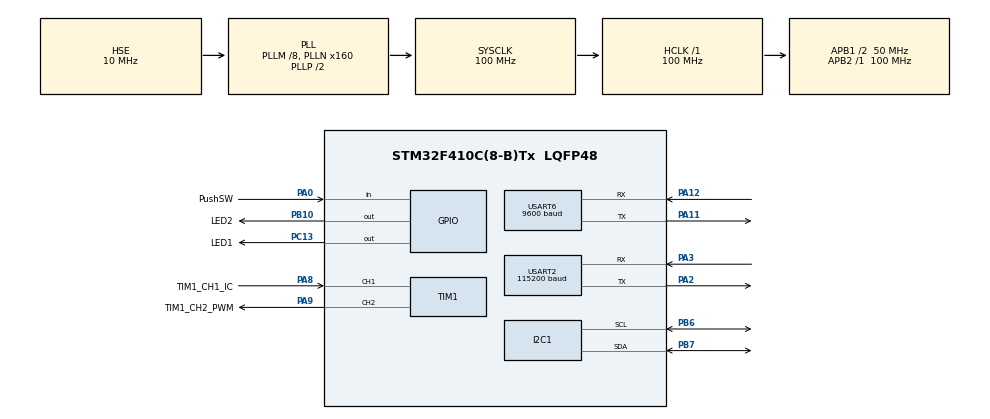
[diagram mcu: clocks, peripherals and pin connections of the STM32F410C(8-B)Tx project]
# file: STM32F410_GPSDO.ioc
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Dma.Request0=USART6_RX
Dma.Request1=USART6_TX
Dma.USART6_RX.0.Direction=DMA_PERIPH_TO_MEMORY
Dma.USART6_RX.0.FIFOMode=DMA_FIFOMODE_DISABLE
Dma.USART6_RX.0.Instance=DMA2_Stream1
Dma.USART6_RX.0.MemDataAlignment=DMA_MDATAALIGN_BYTE
Dma.USART6_RX.0.MemInc=DMA_MINC_ENABLE
Dma.USART6_RX.0.Mode=DMA_NORMAL
Dma.USART6_RX.0.PeriphDataAlignment=DMA_PDATAALIGN_BYTE
Dma.USART6_RX.0.PeriphInc=DMA_PINC_DISABLE
Dma.USART6_RX.0.Priority=DMA_PRIORITY_LOW
Dma.USART6_TX.1.Direction=DMA_MEMORY_TO_PERIPH
Dma.USART6_TX.1.FIFOMode=DMA_FIFOMODE_DISABLE
Dma.USART6_TX.1.Instance=DMA2_Stream6
Dma.USART6_TX.1.MemDataAlignment=DMA_MDATAALIGN_BYTE
Dma.USART6_TX.1.MemInc=DMA_MINC_ENABLE
Dma.USART6_TX.1.Mode=DMA_NORMAL
Dma.USART6_TX.1.PeriphDataAlignment=DMA_PDATAALIGN_BYTE
Dma.USART6_TX.1.PeriphInc=DMA_PINC_DISABLE
Dma.USART6_TX.1.Priority=DMA_PRIORITY_LOW
Mcu.Family=STM32F4
Mcu.Name=STM32F410C(8-B)Tx
Mcu.Package=LQFP48
NVIC.DMA2_Stream1_IRQn=true\:0\:0\:false\:false\:true\:false\:true\:true
NVIC.DMA2_Stream6_IRQn=true\:0\:0\:false\:false\:true\:false\:true\:true
NVIC.PriorityGroup=NVIC_PRIORITYGROUP_4
NVIC.TIM1_CC_IRQn=true\:3\:0\:true\:false\:true\:true\:true\:true
NVIC.TIM1_TRG_COM_TIM11_IRQn=true\:7\:0\:true\:false\:true\:true\:true\:true
NVIC.TIM1_UP_IRQn=true\:1\:0\:true\:false\:true\:true\:true\:true
NVIC.USART6_IRQn=true\:5\:0\:true\:false\:true\:true\:true\:true
PA0-WKUP.GPIO_Label=PushSW
PA0-WKUP.GPIO_PuPd=GPIO_PULLUP
PA0-WKUP.Signal=GPIO_Input
PA11.Mode=Asynchronous
PA11.Signal=USART6_TX
PA12.Mode=Asynchronous
PA12.Signal=USART6_RX
PA2.Mode=Asynchronous
PA2.Signal=USART2_TX
PA3.Mode=Asynchronous
PA3.Signal=USART2_RX
PA8.GPIO_Label=TIM1_CH1_IC
PA8.Signal=S_TIM1_CH1
PA9.GPIO_Label=TIM1_CH2_PWM
PA9.GPIO_ModeDefaultPP=GPIO_MODE_AF_OD
PA9.Signal=S_TIM1_CH2
PB10.GPIO_Label=LED2
PB10.Signal=GPIO_Output
PB6.Mode=I2C
PB6.Signal=I2C1_SCL
PB7.Mode=I2C
PB7.Signal=I2C1_SDA
PC13-ANTI_TAMP.GPIO_Label=LED1
PC13-ANTI_TAMP.Signal=GPIO_Output
PH0\ -\ OSC_IN.Mode=HSE-External-Clock-Source
PH0\ -\ OSC_IN.Signal=RCC_OSC_IN
PH1\ -\ OSC_OUT.Mode=HSE-External-Clock-Source
PH1\ -\ OSC_OUT.Signal=RCC_OSC_OUT
ProjectManager.HeapSize=0x200
ProjectManager.StackSize=0x400
ProjectManager.TargetToolchain=STM32CubeIDE
RCC.48MHZClocksFreq_Value=50000000
RCC.AHBFreq_Value=100000000
RCC.APB1CLKDivider=RCC_HCLK_DIV2
RCC.APB1Freq_Value=50000000
RCC.APB1TimFreq_Value=100000000
RCC.APB2Freq_Value=100000000
RCC.APB2TimFreq_Value=100000000
RCC.CortexFreq_Value=100000000
RCC.HCLKFreq_Value=100000000
RCC.HSE_VALUE=10000000
RCC.HSI_VALUE=16000000
RCC.LSE_VALUE=32768
RCC.PLLM=8
RCC.PLLN=160
RCC.PLLSourceVirtual=RCC_PLLSOURCE_HSE
RCC.SYSCLKFreq_VALUE=100000000
RCC.SYSCLKSource=RCC_SYSCLKSOURCE_PLLCLK
RCC.VCOOutputFreq_Value=200000000
SH.S_TIM1_CH1.0=TIM1_CH1,Input_Capture1_from_TI1
SH.S_TIM1_CH2.0=TIM1_CH2,PWM Generation2 CH2
TIM1.Channel-Input_Capture1_from_TI1=TIM_CHANNEL_1
TIM1.Channel-PWM\ Generation2\ CH2=TIM_CHANNEL_2
TIM1.Pulse-PWM\ Generation2\ CH2=0x8000
TIM11.Period=9999
TIM11.Prescaler=99
USART2.BaudRate=115200
USART2.VirtualMode=VM_ASYNC
USART6.BaudRate=9600
USART6.VirtualMode=VM_ASYNC
VP_TIM11_VS_ClockSourceINT.Mode=Enable_Timer
VP_TIM1_VS_ClockSourceINT.Mode=Internal
board=custom

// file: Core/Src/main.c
/* USER CODE BEGIN Header */
/**
  ******************************************************************************
  * @file           : main.c
  * @brief          : Main program body
  ******************************************************************************
  * @attention
  *
  * Copyright (c) 2023 STMicroelectronics.
  * All rights reserved.
  *
  * This software is licensed under terms that can be found in the LICENSE file
  * in the root directory of this software component.
  * If no LICENSE file comes with this software, it is provided AS-IS.
  *
  ******************************************************************************
  */
/* USER CODE END Header */
#include "main.h"

/* USER CODE BEGIN Includes */
#include <stdbool.h>
#include <stdio.h>
#include <stdlib.h>
#include <string.h>
#include "ssd1306.h"
#include "fonts.h"
#include "ocxo.h"
#include "gps.h"
#include "display.h"

/* USER CODE END Includes */

/* USER CODE BEGIN PTD */
// STM32F410CBT6:Flash 128KB -> last sector 4 (64KB area)
#define FLASH_DATA_SECTOR		FLASH_SECTOR_4
#define FLASH_DATA_ADR			0x08010000
#define FLASH_DATA_SECTORSIZE	0x10000

#define LM73_I2C_ADDR       	0x98
#define OCXO_DEF_THRESHOLD		30		// degree C
#define SW_PRESSED				0
#define SW_SHORT_THRESHOLD  	3		// (Unit:10ms) 30msec
#define SW_LONG_THRESHOLD   	300		// (Unit:10ms) 3000msec

#define STATE_INIT_NOT_RESTORED	0
#define STATE_INIT_RESTORED		1
#define STATE_WAIT_WARMUP		2
#define STATE_WAIT_TIMEVALID	3
#define STATE_WAIT_GPSVALID		4
#define STATE_GPSVALID			5

/* USER CODE END PTD */

I2C_HandleTypeDef hi2c1;

TIM_HandleTypeDef htim1;
TIM_HandleTypeDef htim11;

UART_HandleTypeDef huart2;
UART_HandleTypeDef huart6;
DMA_HandleTypeDef hdma_usart6_rx;
DMA_HandleTypeDef hdma_usart6_tx;

/* USER CODE BEGIN PV */
int32_t	tim1_ovf_cnt = 0;
int32_t	cnt_1pps;
bool	previous_cnt_valid = false;
bool	update_cnt_1pps = false;
int32_t	tim11_ovf_cnt = 0;
int32_t	KeyStatus = 0;

/* USER CODE END PV */

void SystemClock_Config(void);
static void MX_GPIO_Init(void);
static void MX_DMA_Init(void);
static void MX_I2C1_Init(void);
static void MX_TIM1_Init(void);
static void MX_USART6_UART_Init(void);
static void MX_TIM11_Init(void);
static void MX_USART2_UART_Init(void);

/* USER CODE BEGIN 0 */
// LM73(I2C) Read out TCXO temperature (signed 10 bit)
int32_t LM73_temperature(void){
  uint8_t buf[2];
  HAL_I2C_Master_Receive(&hi2c1, LM73_I2C_ADDR, buf, 2, 10);
  return ((buf[0] << 1) | (buf[1] >> 7));
}

int32_t LoadData32Flash(uint32_t *data1, uint32_t *data2) {
  uint32_t* adr = (uint32_t *)(FLASH_DATA_ADR + FLASH_DATA_SECTORSIZE) - 2;
  for( int i=0; i < FLASH_DATA_SECTORSIZE/4/2; i++ ) {	// search from end of sector
    if ( *adr != 0xFFFFFFFF) {							// if not blank (data exist)
      *data1 = *adr++;
      *data2 = *adr;
      return 0;
    }
    adr -= 2;
  }
  return -1;
}

void SaveData32Flash(uint32_t data1, uint32_t data2) {
  HAL_FLASH_Unlock();

  uint32_t* adr = (uint32_t *)(FLASH_DATA_ADR + FLASH_DATA_SECTORSIZE) - 1;
  if (*adr != 0xFFFFFFFF ) {		// if not spire
    FLASH_EraseInitTypeDef erase;
    erase.TypeErase = FLASH_TYPEERASE_SECTORS;
    erase.Sector = FLASH_DATA_SECTOR;	// STM32F410CBT6 FLASH_SECTOR_4
    erase.NbSectors = 1;
    erase.VoltageRange = FLASH_VOLTAGE_RANGE_3;
    uint32_t r; 					// SectorError
    HAL_FLASHEx_Erase(&erase, &r);
  }

  adr = (uint32_t *)FLASH_DATA_ADR;
  for (int i=0; i < FLASH_DATA_SECTORSIZE/4/2; i++) { // search from top of sector
    if (*adr == 0xFFFFFFFF) {                  // if blank
      HAL_FLASH_Program(FLASH_TYPEPROGRAM_WORD, (uint32_t)adr++, data1);
      HAL_FLASH_Program(FLASH_TYPEPROGRAM_WORD, (uint32_t)adr, data2);
      break;
    }
    adr += 2;
  }
  HAL_FLASH_Lock();
}

bool IsPushSWPressed(void) {
  return (HAL_GPIO_ReadPin(PushSW_GPIO_Port, PushSW_Pin) == SW_PRESSED);
}

int32_t CheckPushSW(void) {
  static int32_t cnt = 0;
  static bool	 detect_push_long = false;

  if (IsPushSWPressed()) {
    if (cnt > SW_LONG_THRESHOLD -1 ) {
   	  if (detect_push_long) {
   		return 0;
   	  } else {
     	detect_push_long = true;
     	return 2;
   	  }
    } else {
      cnt++;
      return 0;
    }
  } else {
	if ((detect_push_long == false) && (cnt > SW_SHORT_THRESHOLD - 1)) {
      cnt = 0;
      return 1;
	} else {
	  detect_push_long = false;
	  cnt = 0;
	  return 0;
	}
  }
}

/* USER CODE END 0 */

int main(void)
{
  /* USER CODE BEGIN 1 */
  bool ocxo_warm_up = false;
  bool gps_valid = false;
  bool gps_time_valid = false;
  bool req_update_state = false;
  bool req_update_display = false;
//bool req_display_location = false;
  bool req_display_msg_save = false;
  int32_t state;
  int32_t next_state;
  int32_t state_delay = 0;
  int32_t disp_mode = 0;
  int32_t disp_hold_cnt = 0;
  int32_t icon_sig_pat;
  int32_t temperature;
  int32_t saved_temperature;
  int32_t ocxo_threshold = OCXO_DEF_THRESHOLD;
  int32_t r;
  uint32_t k1, k2;

  /* USER CODE END 1 */

  /* MCU Configuration--------------------------------------------------------*/

  /* Reset of all peripherals, Initializes the Flash interface and the Systick. */
  HAL_Init();

  /* Configure the system clock */
  SystemClock_Config();

  /* Initialize all configured peripherals */
  MX_GPIO_Init();
  MX_DMA_Init();
  MX_I2C1_Init();
  MX_TIM1_Init();
  MX_USART6_UART_Init();
  MX_TIM11_Init();
  MX_USART2_UART_Init();
  /* USER CODE BEGIN 2 */
  uart6_init();

  if (ssd1306_Init(&hi2c1) != 0) {
    Error_Handler();
  }
  HAL_Delay(1000);

  // load saved parameter
  if (!IsPushSWPressed()) {
	r = LoadData32Flash(&k1, &k2);
	if (r == -1) {
	  state = next_state = STATE_INIT_NOT_RESTORED;
	} else {
	  set_control_pwm_data((int32_t) k1);
	  ocxo_threshold = k2;
      state = next_state = STATE_INIT_RESTORED;
    }
  } else {
	state = next_state = STATE_INIT_NOT_RESTORED;
  }

  // Start Timer
  HAL_TIM_Base_Start_IT(&htim11);	// Timer11
  ocxo_init();						// Timer1

  /* USER CODE END 2 */

  /* Infinite loop */
  while (1)
  {

    /* USER CODE BEGIN 3 */
//	HAL_GPIO_WritePin(LED1_GPIO_Port, LED1_Pin, GPIO_PIN_SET);// for debug

    // OCXO frequency control
	//   the interval depends on 1PPS generated by GPS module
	if (state > STATE_WAIT_WARMUP) {
	  ocxo_control();
	}

    // PushSW operation
 	r = KeyStatus;			// read and clear KeyStatus
  	KeyStatus = 0;
	if (state == STATE_GPSVALID) {
  	  if (r == 1) {			// short pressed?
  		disp_mode++;
  		if (disp_mode > 2) disp_mode = 0;
  	  }
  	  else if (r == 2) {	// long pressed?
  	    r = get_control_pwm_data();
  	    saved_temperature = temperature - 5;
  	    SaveData32Flash((uint32_t) r, (uint32_t) saved_temperature);
  	    req_display_msg_save = true;
	  }
	}

	// Receive GPS message ( measured time max. 150us)
//	HAL_GPIO_WritePin(LED2_GPIO_Port, LED2_Pin, GPIO_PIN_SET);
	uart6_err_ckcl();
	while (get_gps_msg() == true) {
	  // Output NMEA sentence using UART2 (USB serial) for debugging
//    HAL_UART_Transmit(&huart2, (const uint8_t *)gps_msg, strlen((const char *)gps_msg), 10);
	  r = msg_parse(gps_msg);
	  if (r > 0) {  // if received GPRMC message
	    gps_valid = (r & 4)? true : false;
		gps_time_valid = (r & 2)? true : false;
		tim11_ovf_cnt = 0;
		req_update_state = true;
	  }
	}
//	HAL_GPIO_WritePin(LED2_GPIO_Port, LED2_Pin, GPIO_PIN_RESET);

	// if GPRMC sentence is not detected, update state/display every 1.2sec
	if (tim11_ovf_cnt > 120) {
		tim11_ovf_cnt = 0;
		req_update_state = true;
	}

    // update state basically every 1sec
	if (req_update_state) {
	  req_update_state = false;

	  // Measure OCXO temperature
	  temperature = LM73_temperature();
	  if (temperature > ocxo_threshold)
	    ocxo_warm_up = true;

	  // state machine
	  if (state_delay == 0) {
		state = next_state;
		req_update_display = true;
		switch(state) {
		  case STATE_INIT_NOT_RESTORED:
		  case STATE_INIT_RESTORED:
		    next_state = STATE_WAIT_WARMUP;
		    state_delay = 3; // 3sec
		    break;

		  case STATE_WAIT_WARMUP:
		    if (ocxo_warm_up) next_state = STATE_WAIT_TIMEVALID;
		    break;

		  case STATE_WAIT_TIMEVALID:
		    if (gps_time_valid) next_state = STATE_WAIT_GPSVALID;
		    break;

		  case STATE_WAIT_GPSVALID:
		    if (gps_valid) next_state = STATE_GPSVALID;
		    else if (!gps_time_valid) next_state = STATE_WAIT_TIMEVALID;
		    break;

		  case STATE_GPSVALID:
		    if (!gps_valid) next_state = STATE_WAIT_GPSVALID;
		    else if (!gps_time_valid) next_state = STATE_WAIT_TIMEVALID;
		    break;

		  default:
		    next_state = STATE_WAIT_WARMUP;
		    break;
		}

	  } else {
		state_delay--;
	  }
	} // if(req_update_state)

	// display control
    if (disp_hold_cnt) {
      disp_hold_cnt--;
    }
    else if (req_update_display) {
      req_update_display = false;
	  switch(state) {
		case STATE_INIT_NOT_RESTORED:
	      ssd1306_Fill(Black);
	      display_msg_not_load();
	      disp_hold_cnt = 3;
		  break;

		case STATE_INIT_RESTORED:
		  ssd1306_Fill(Black);
		  display_msg_restore(get_control_pwm_data(), ocxo_threshold);
		  disp_hold_cnt = 3;
		  break;

		case STATE_WAIT_WARMUP:
		  ssd1306_Fill(Black);
		  display_heater_icon(IPOS_Center_X, IPOS_Center_Y);
		  display_msg_warming_up();
		  display_temperature(temperature);
		  break;

		case STATE_WAIT_TIMEVALID:
		  ssd1306_Fill(Black);
		  display_satellite_icon(IPOS_Center_X, IPOS_Center_Y);
		  display_msg_waiting_gps();
		  display_temperature(temperature);
		  break;

		case STATE_WAIT_GPSVALID:
		  ssd1306_Fill(Black);
		  display_satellite_icon(IPOS_Corner_X, IPOS_Corner_Y);
		  display_temperature(temperature);
		  display_time();
		  display_SatellitesInView();
		  icon_sig_pat = 0;
		  break;

		case STATE_GPSVALID:
		  display_sat_icon_sig(IPOS_Corner_X, IPOS_Corner_Y, icon_sig_pat++);
		  if (icon_sig_pat > 2) icon_sig_pat = 0;
		  display_SatellitesUsed();
		  display_SatellitesInView();
		  display_freq_error();
		  display_blank_row(TPOS_Y3, Font_7x10);
		  display_blank_row(TPOS_Y4, Font_7x10);
		  if (req_display_msg_save) {
			  req_display_msg_save = false;
			  display_msg_save(get_control_pwm_data(), saved_temperature);
			  disp_hold_cnt = 5;
		  } else {
			switch(disp_mode) {
			  case 0:
		        display_control_period();
			    display_temperature(temperature);
		        display_time();
			    display_pwm_data();
			    break;
			  case 1:
		        display_control_period();
			    display_temperature(temperature);
			    display_summing_error();
			    display_pwm_data();
			    break;
			  case 2:
                display_Latitude();
                display_Longitude();
                break;
			  default:
				break;
			} // switch(disp_mode)
		  } // else
		  break;

		default:
		  break;
	  } // switch
	  ssd1306_UpdateScreen(&hi2c1);	// execution time: 100ms
	} // if (req_update_display)

//  HAL_GPIO_WritePin(LED1_GPIO_Port, LED1_Pin, GPIO_PIN_RESET);
  } // while
  /* USER CODE END 3 */
}

void SystemClock_Config(void)
{
  RCC_OscInitTypeDef RCC_OscInitStruct = {0};
  RCC_ClkInitTypeDef RCC_ClkInitStruct = {0};

  /** Configure the main internal regulator output voltage
  */
  __HAL_RCC_PWR_CLK_ENABLE();
  __HAL_PWR_VOLTAGESCALING_CONFIG(PWR_REGULATOR_VOLTAGE_SCALE1);

  /** Initializes the RCC Oscillators according to the specified parameters
  * in the RCC_OscInitTypeDef structure.
  */
  RCC_OscInitStruct.OscillatorType = RCC_OSCILLATORTYPE_HSE;
  RCC_OscInitStruct.HSEState = RCC_HSE_BYPASS;
  RCC_OscInitStruct.PLL.PLLState = RCC_PLL_ON;
  RCC_OscInitStruct.PLL.PLLSource = RCC_PLLSOURCE_HSE;
  RCC_OscInitStruct.PLL.PLLM = 8;
  RCC_OscInitStruct.PLL.PLLN = 160;
  RCC_OscInitStruct.PLL.PLLP = RCC_PLLP_DIV2;
  RCC_OscInitStruct.PLL.PLLQ = 4;
  RCC_OscInitStruct.PLL.PLLR = 2;
  if (HAL_RCC_OscConfig(&RCC_OscInitStruct) != HAL_OK)
  {
    Error_Handler();
  }

  /** Initializes the CPU, AHB and APB buses clocks
  */
  RCC_ClkInitStruct.ClockType = RCC_CLOCKTYPE_HCLK|RCC_CLOCKTYPE_SYSCLK
                              |RCC_CLOCKTYPE_PCLK1|RCC_CLOCKTYPE_PCLK2;
  RCC_ClkInitStruct.SYSCLKSource = RCC_SYSCLKSOURCE_PLLCLK;
  RCC_ClkInitStruct.AHBCLKDivider = RCC_SYSCLK_DIV1;
  RCC_ClkInitStruct.APB1CLKDivider = RCC_HCLK_DIV2;
  RCC_ClkInitStruct.APB2CLKDivider = RCC_HCLK_DIV1;

  if (HAL_RCC_ClockConfig(&RCC_ClkInitStruct, FLASH_LATENCY_3) != HAL_OK)
  {
    Error_Handler();
  }
}

static void MX_I2C1_Init(void)
{

  hi2c1.Instance = I2C1;
  hi2c1.Init.ClockSpeed = 100000;
  hi2c1.Init.DutyCycle = I2C_DUTYCYCLE_2;
  hi2c1.Init.OwnAddress1 = 0;
  hi2c1.Init.AddressingMode = I2C_ADDRESSINGMODE_7BIT;
  hi2c1.Init.DualAddressMode = I2C_DUALADDRESS_DISABLE;
  hi2c1.Init.OwnAddress2 = 0;
  hi2c1.Init.GeneralCallMode = I2C_GENERALCALL_DISABLE;
  hi2c1.Init.NoStretchMode = I2C_NOSTRETCH_DISABLE;
  if (HAL_I2C_Init(&hi2c1) != HAL_OK)
  {
    Error_Handler();
  }

}

static void MX_TIM1_Init(void)
{

  TIM_ClockConfigTypeDef sClockSourceConfig = {0};
  TIM_MasterConfigTypeDef sMasterConfig = {0};
  TIM_IC_InitTypeDef sConfigIC = {0};
  TIM_OC_InitTypeDef sConfigOC = {0};
  TIM_BreakDeadTimeConfigTypeDef sBreakDeadTimeConfig = {0};

  htim1.Instance = TIM1;
  htim1.Init.Prescaler = 0;
  htim1.Init.CounterMode = TIM_COUNTERMODE_UP;
  htim1.Init.Period = 65535;
  htim1.Init.ClockDivision = TIM_CLOCKDIVISION_DIV1;
  htim1.Init.RepetitionCounter = 0;
  htim1.Init.AutoReloadPreload = TIM_AUTORELOAD_PRELOAD_DISABLE;
  if (HAL_TIM_Base_Init(&htim1) != HAL_OK)
  {
    Error_Handler();
  }
  sClockSourceConfig.ClockSource = TIM_CLOCKSOURCE_INTERNAL;
  if (HAL_TIM_ConfigClockSource(&htim1, &sClockSourceConfig) != HAL_OK)
  {
    Error_Handler();
  }
  if (HAL_TIM_IC_Init(&htim1) != HAL_OK)
  {
    Error_Handler();
  }
  if (HAL_TIM_PWM_Init(&htim1) != HAL_OK)
  {
    Error_Handler();
  }
  sMasterConfig.MasterOutputTrigger = TIM_TRGO_RESET;
  sMasterConfig.MasterSlaveMode = TIM_MASTERSLAVEMODE_DISABLE;
  if (HAL_TIMEx_MasterConfigSynchronization(&htim1, &sMasterConfig) != HAL_OK)
  {
    Error_Handler();
  }
  sConfigIC.ICPolarity = TIM_INPUTCHANNELPOLARITY_RISING;
  sConfigIC.ICSelection = TIM_ICSELECTION_DIRECTTI;
  sConfigIC.ICPrescaler = TIM_ICPSC_DIV1;
  sConfigIC.ICFilter = 0;
  if (HAL_TIM_IC_ConfigChannel(&htim1, &sConfigIC, TIM_CHANNEL_1) != HAL_OK)
  {
    Error_Handler();
  }
  sConfigOC.OCMode = TIM_OCMODE_PWM1;
  sConfigOC.Pulse = 0x8000;
  sConfigOC.OCPolarity = TIM_OCPOLARITY_HIGH;
  sConfigOC.OCNPolarity = TIM_OCNPOLARITY_HIGH;
  sConfigOC.OCFastMode = TIM_OCFAST_DISABLE;
  sConfigOC.OCIdleState = TIM_OCIDLESTATE_RESET;
  sConfigOC.OCNIdleState = TIM_OCNIDLESTATE_RESET;
  if (HAL_TIM_PWM_ConfigChannel(&htim1, &sConfigOC, TIM_CHANNEL_2) != HAL_OK)
  {
    Error_Handler();
  }
  sBreakDeadTimeConfig.OffStateRunMode = TIM_OSSR_DISABLE;
  sBreakDeadTimeConfig.OffStateIDLEMode = TIM_OSSI_DISABLE;
  sBreakDeadTimeConfig.LockLevel = TIM_LOCKLEVEL_OFF;
  sBreakDeadTimeConfig.DeadTime = 0;
  sBreakDeadTimeConfig.BreakState = TIM_BREAK_DISABLE;
  sBreakDeadTimeConfig.BreakPolarity = TIM_BREAKPOLARITY_HIGH;
  sBreakDeadTimeConfig.AutomaticOutput = TIM_AUTOMATICOUTPUT_DISABLE;
  if (HAL_TIMEx_ConfigBreakDeadTime(&htim1, &sBreakDeadTimeConfig) != HAL_OK)
  {
    Error_Handler();
  }
  HAL_TIM_MspPostInit(&htim1);

}

static void MX_TIM11_Init(void)
{

  htim11.Instance = TIM11;
  htim11.Init.Prescaler = 99;
  htim11.Init.CounterMode = TIM_COUNTERMODE_UP;
  htim11.Init.Period = 9999;
  htim11.Init.ClockDivision = TIM_CLOCKDIVISION_DIV1;
  htim11.Init.AutoReloadPreload = TIM_AUTORELOAD_PRELOAD_DISABLE;
  if (HAL_TIM_Base_Init(&htim11) != HAL_OK)
  {
    Error_Handler();
  }

}

static void MX_USART2_UART_Init(void)
{

  huart2.Instance = USART2;
  huart2.Init.BaudRate = 115200;
  huart2.Init.WordLength = UART_WORDLENGTH_8B;
  huart2.Init.StopBits = UART_STOPBITS_1;
  huart2.Init.Parity = UART_PARITY_NONE;
  huart2.Init.Mode = UART_MODE_TX_RX;
  huart2.Init.HwFlowCtl = UART_HWCONTROL_NONE;
  huart2.Init.OverSampling = UART_OVERSAMPLING_16;
  if (HAL_UART_Init(&huart2) != HAL_OK)
  {
    Error_Handler();
  }

}

static void MX_USART6_UART_Init(void)
{

  huart6.Instance = USART6;
  huart6.Init.BaudRate = 9600;
  huart6.Init.WordLength = UART_WORDLENGTH_8B;
  huart6.Init.StopBits = UART_STOPBITS_1;
  huart6.Init.Parity = UART_PARITY_NONE;
  huart6.Init.Mode = UART_MODE_TX_RX;
  huart6.Init.HwFlowCtl = UART_HWCONTROL_NONE;
  huart6.Init.OverSampling = UART_OVERSAMPLING_16;
  if (HAL_UART_Init(&huart6) != HAL_OK)
  {
    Error_Handler();
  }

}

static void MX_DMA_Init(void)
{

  /* DMA controller clock enable */
  __HAL_RCC_DMA2_CLK_ENABLE();

  /* DMA interrupt init */
  /* DMA2_Stream1_IRQn interrupt configuration */
  HAL_NVIC_SetPriority(DMA2_Stream1_IRQn, 0, 0);
  HAL_NVIC_EnableIRQ(DMA2_Stream1_IRQn);
  /* DMA2_Stream6_IRQn interrupt configuration */
  HAL_NVIC_SetPriority(DMA2_Stream6_IRQn, 0, 0);
  HAL_NVIC_EnableIRQ(DMA2_Stream6_IRQn);

}

static void MX_GPIO_Init(void)
{
  GPIO_InitTypeDef GPIO_InitStruct = {0};

  /* GPIO Ports Clock Enable */
  __HAL_RCC_GPIOC_CLK_ENABLE();
  __HAL_RCC_GPIOH_CLK_ENABLE();
  __HAL_RCC_GPIOA_CLK_ENABLE();
  __HAL_RCC_GPIOB_CLK_ENABLE();

  /*Configure GPIO pin Output Level */
  HAL_GPIO_WritePin(LED1_GPIO_Port, LED1_Pin, GPIO_PIN_RESET);

  /*Configure GPIO pin Output Level */
  HAL_GPIO_WritePin(LED2_GPIO_Port, LED2_Pin, GPIO_PIN_RESET);

  /*Configure GPIO pin : LED1_Pin */
  GPIO_InitStruct.Pin = LED1_Pin;
  GPIO_InitStruct.Mode = GPIO_MODE_OUTPUT_PP;
  GPIO_InitStruct.Pull = GPIO_NOPULL;
  GPIO_InitStruct.Speed = GPIO_SPEED_FREQ_LOW;
  HAL_GPIO_Init(LED1_GPIO_Port, &GPIO_InitStruct);

  /*Configure GPIO pin : PushSW_Pin */
  GPIO_InitStruct.Pin = PushSW_Pin;
  GPIO_InitStruct.Mode = GPIO_MODE_INPUT;
  GPIO_InitStruct.Pull = GPIO_PULLUP;
  HAL_GPIO_Init(PushSW_GPIO_Port, &GPIO_InitStruct);

  /*Configure GPIO pin : LED2_Pin */
  GPIO_InitStruct.Pin = LED2_Pin;
  GPIO_InitStruct.Mode = GPIO_MODE_OUTPUT_PP;
  GPIO_InitStruct.Pull = GPIO_NOPULL;
  GPIO_InitStruct.Speed = GPIO_SPEED_FREQ_LOW;
  HAL_GPIO_Init(LED2_GPIO_Port, &GPIO_InitStruct);

}

/* USER CODE BEGIN 4 */
void HAL_TIM_IC_CaptureCallback(TIM_HandleTypeDef *htim){
// static bool  previous_cnt_valid = false;
 static int32_t previous_cnt;

 if(htim == &htim1){
  int32_t tmp = tim1_ovf_cnt;
  tim1_ovf_cnt = 0;          		// clear overflow counter
  int32_t cnt = TIM1-> CCR1; 		// get cnt(16bit) and clear capture interrupt flag

  if (previous_cnt_valid) {			// previous cnt value exists?
   cnt_1pps = (tmp * 65536) + cnt - previous_cnt;     // Yes, calculate whole pulse in 1PSS
   previous_cnt = cnt; 				// store cnt value into previous_count for next calculation
   update_cnt_1pps = true;			// set 1pps cnt update flag
  }
  else {
   previous_cnt = cnt;				// store cnt value into previous_count
   previous_cnt_valid = true;		// set previous count flag
  }
 }
}

void HAL_TIM_PeriodElapsedCallback(TIM_HandleTypeDef *htim) {
 if(htim == &htim1){				// Timer1
  TIM1-> SR &= 0x1EFE;				// clear update interrupt flag
  tim1_ovf_cnt++;					// increment overflow count
 }
 else if(htim == &htim11){			// Timer11
  TIM11-> SR &= 0x1EFE;				// clear update interrupt flag
  tim11_ovf_cnt++;					// increment overflow count
  if (KeyStatus == 0) {				// Check PushSW
    KeyStatus = CheckPushSW();
  }
 }
}

/* USER CODE END 4 */

void Error_Handler(void)
{
  __disable_irq();
  while (1)
  {
  }
}
